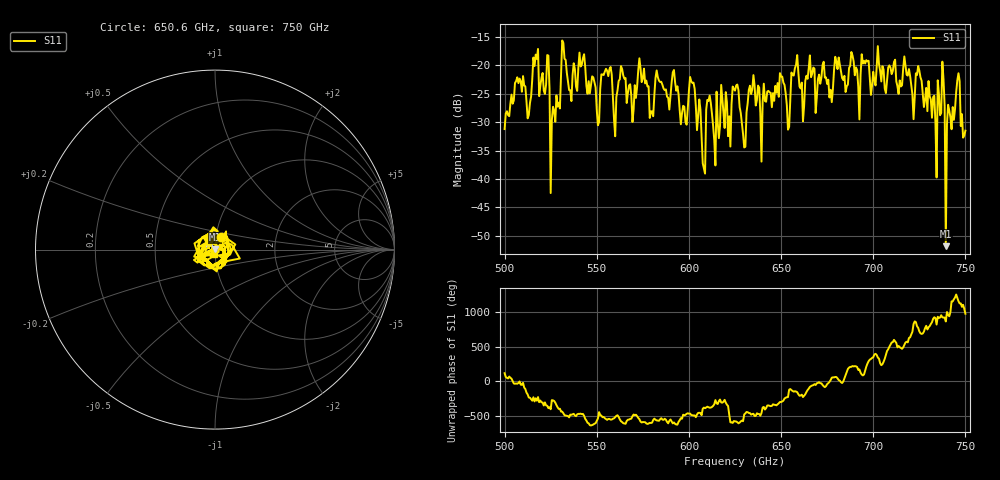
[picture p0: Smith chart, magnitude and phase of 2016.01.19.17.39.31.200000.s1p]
!Created with skrf (http://scikit-rf.org).
# GHz S RI R 50.0
!freq ReS11 ImS11
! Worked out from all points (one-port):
!   401 points, 500 GHz to 750 GHz, reference 50 ohm
!   lowest |S11| = -51.8 dB at 739.4 GHz (marker M1), VSWR 1.01, Z = 49.8 + j0.155 ohm
!   |S11| at or under -10 dB: start of sweep to end of sweep
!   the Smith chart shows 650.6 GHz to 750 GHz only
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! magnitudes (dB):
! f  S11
! 500 GHz  -31.2
! 506.9 GHz  -22.1
! 513.1 GHz  -28.8
! 516.9 GHz  -18.1
! 523.1 GHz  -18.2
! 526.2 GHz  -27.3
! 531.2 GHz  -15.7
! 541.9 GHz  -19.9
! 550.6 GHz  -30.6
! 562.5 GHz  -22.5
! 593.8 GHz  -23.7
! 601.9 GHz  -23.1
! 608.1 GHz  -38.1
! 610.6 GHz  -26.3
! 615 GHz  -24.7
! 625 GHz  -24.5
! 630 GHz  -34.5
! 633.8 GHz  -25.1
! 650.6 GHz  -22.0
! 653.8 GHz  -31.3
! 656.2 GHz  -21.7
! 687.5 GHz  -20.1
! 718.8 GHz  -21.8
! 733.1 GHz  -25.4
! 736.9 GHz  -28.4
! 739.4 GHz  -51.8
! 745.6 GHz  -22.7
! 750 GHz  -31.5
